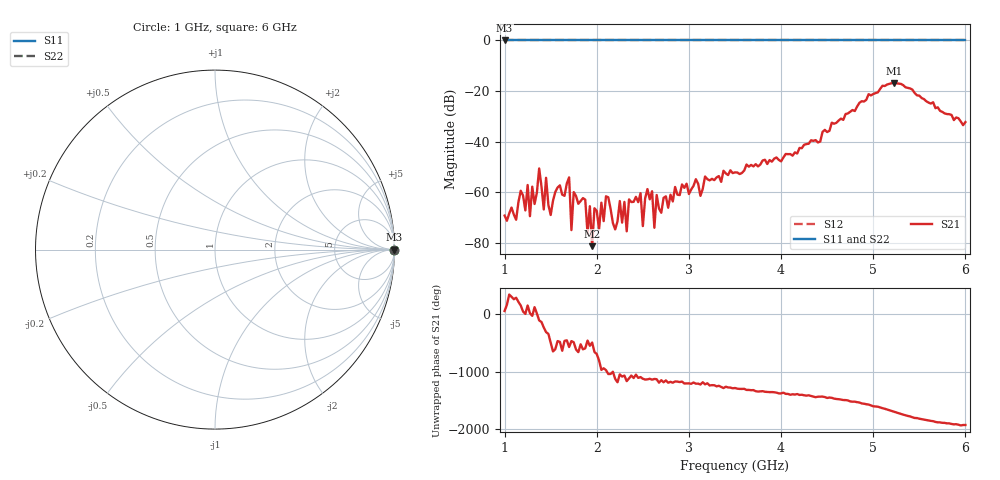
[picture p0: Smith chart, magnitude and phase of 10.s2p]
!Keysight Technologies N9926A: A.08.19
!Date: Sunday, 01 March 2026 13:25:00
!Timezone: (GMT-06:00) Central Time (US & Canada)
!Model: N9926A
!Serial: MY53102721
!GPS Latitude:
!GPS Longitude:
!GPS TimeStamp: 0001-01-01 00:00:00Z
!GPS Seconds Since Last Read: 0
!CHECKSUM:1411687104
!Correction: S11()S21(ON U)S12()S22()
!S2P File: Measurements:S11,S21,S12,S22:
# Hz S DB R 50
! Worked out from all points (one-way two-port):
!   201 points, 1 GHz to 6 GHz, reference 50 ohm
!   highest |S21| = -16.83 dB at 5.225 GHz (marker M1); lowest = -81.4 dB at 1.95 GHz (marker M2)
!   lowest |S11| = 0.0 dB at 1 GHz (marker M3)
!   |S11| at or under -10 dB: nowhere
!   |S22| runs from 0.0 to 0.0 dB; largest |S21 - S12| = 1.1
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1e9  0.00 0.0  -69.31 59.1  0.00 0.0  0.00 0.0
1.25e9  0.00 0.0  -57.21 155.6  0.00 0.0  0.00 0.0
1.275e9  0.00 0.0  -69.55 20.4  0.00 0.0  0.00 0.0
1.375e9  0.00 0.0  -50.66 -104.9  0.00 0.0  0.00 0.0
1.5e9  0.00 0.0  -69.07 -134.1  0.00 0.0  0.00 0.0
1.7e9  0.00 0.0  -54.21 151.4  0.00 0.0  0.00 0.0
1.725e9  0.00 0.0  -75.05 -105.3  0.00 0.0  0.00 0.0
1.75e9  0.00 0.0  -60.02 -126.5  0.00 0.0  0.00 0.0
1.85e9  0.00 0.0  -62.39 110.7  0.00 0.0  0.00 0.0
1.95e9  0.00 0.0  -81.41 -131.4  0.00 0.0  0.00 0.0
1.975e9  0.00 0.0  -66.40 64.0  0.00 0.0  0.00 0.0
2.1e9  0.00 0.0  -61.68 108.2  0.00 0.0  0.00 0.0
2.2e9  0.00 0.0  -74.78 -45.0  0.00 0.0  0.00 0.0
2.25e9  0.00 0.0  -63.56 32.8  0.00 0.0  0.00 0.0
2.325e9  0.00 0.0  -75.53 -83.8  0.00 0.0  0.00 0.0
2.35e9  0.00 0.0  -62.90 -36.4  0.00 0.0  0.00 0.0
2.675e9  0.00 0.0  -66.50 -110.4  0.00 0.0  0.00 0.0
3.5e9  0.00 0.0  -52.22 156.4  0.00 0.0  0.00 0.0
4.35e9  0.00 0.0  -39.73 6.3  0.00 0.0  0.00 0.0
5.175e9  0.00 0.0  -17.16 126.6  0.00 0.0  0.00 0.0
5.225e9  0.00 0.0  -16.83 102.1  0.00 0.0  0.00 0.0
6e9  0.00 0.0  -32.32 -128.9  0.00 0.0  0.00 0.0
